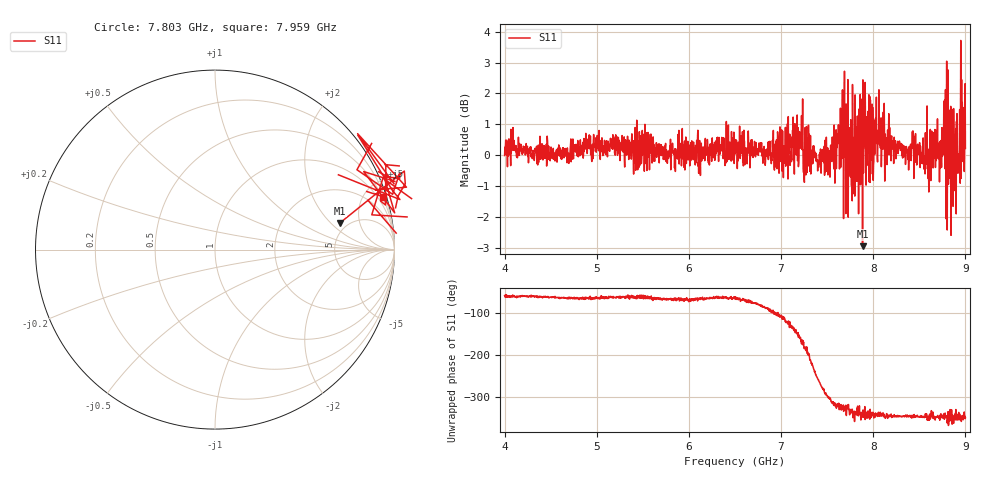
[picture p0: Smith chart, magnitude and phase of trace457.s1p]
! Created with skrf 1.8.0 (http://scikit-rf.org).
# Hz S RI R 50.0
!freq ReS11 ImS11
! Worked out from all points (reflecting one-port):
!   1601 points, 4 GHz to 9 GHz, reference 50 ohm
!   lowest |S11| = -2.9 dB at 7.884 GHz (marker M1), VSWR 5.96, Z = 216 + j131 ohm
!   phase of S11 starts at -57 deg and turns -293 deg over the sweep
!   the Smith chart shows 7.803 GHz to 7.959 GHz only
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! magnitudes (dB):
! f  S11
! 4 GHz  0.0
! 4.625 GHz  -0.1
! 5.25 GHz  0.0
! 5.875 GHz  0.0
! 6.5 GHz  0.2
! 7.125 GHz  0.8
! 7.209 GHz  0.4
! 7.262 GHz  0.5
! 7.284 GHz  0.3
! 7.506 GHz  0.2
! 7.669 GHz  0.6
! 7.75 GHz  -0.7
! 7.775 GHz  2.3
! 7.8 GHz  -1.3
! 7.884 GHz  -2.9
! 7.909 GHz  1.5
! 7.928 GHz  1.2
! 7.981 GHz  -0.1
! 8.047 GHz  -0.2
! 8.375 GHz  0.1
! 8.612 GHz  0.1
! 8.678 GHz  0.2
! 8.728 GHz  -0.4
! 8.788 GHz  -0.9
! 8.869 GHz  -0.4
! 8.919 GHz  -0.6
! 8.972 GHz  0.8
! 9 GHz  0.2
